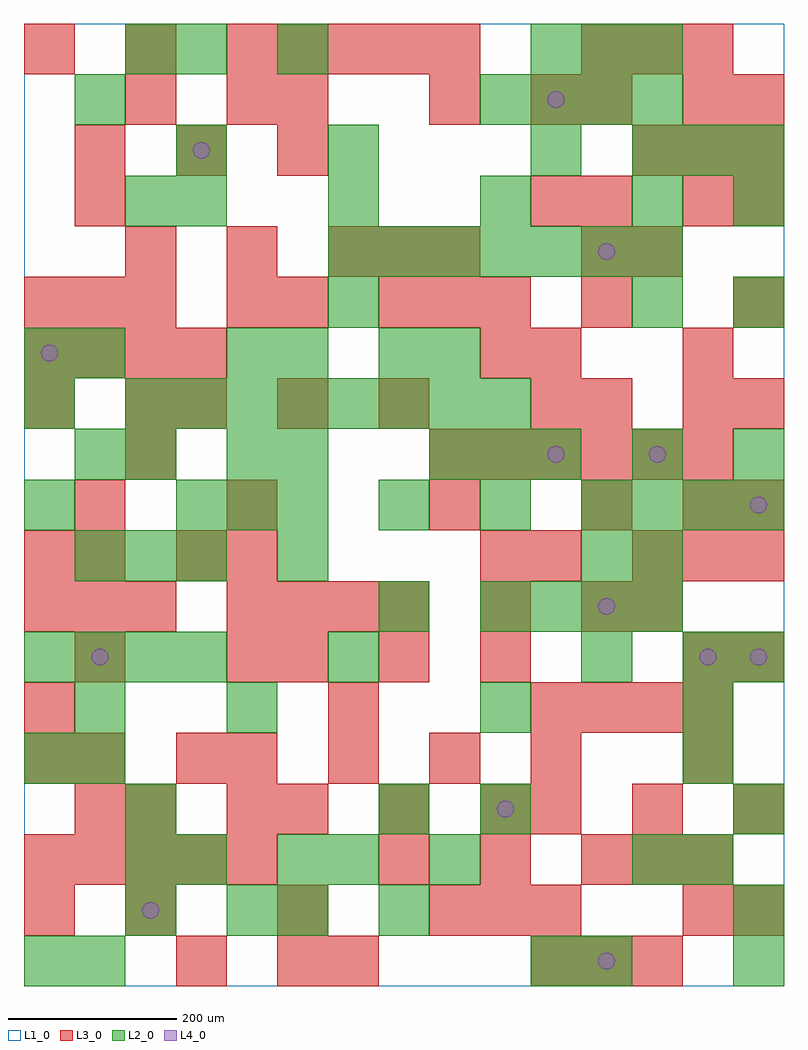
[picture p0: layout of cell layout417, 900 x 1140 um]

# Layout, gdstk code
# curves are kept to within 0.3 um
import gdstk
lib = gdstk.Library(unit=1e-6, precision=1e-09)
def R(c, l, rs):  # rectangles x0, y0, x1, y1
    for r in rs: c.add(gdstk.rectangle(r[:2], r[2:], *l))
def A(c, l, x, y, w, h, nx, ny, dx, dy):  # array of equal rectangles
    R(c, l, [(x+i*dx, y+j*dy, x+i*dx+w, y+j*dy+h) for i in range(nx) for j in range(ny)])
def P(c, l, *ps):  # polygons
    for p in ps: c.add(gdstk.Polygon(p, *l))
L1_0 = (1, 0)
L2_0 = (2, 0)
L3_0 = (3, 0)
L4_0 = (4, 0)

layout417 = lib.new_cell('layout417')
R(layout417, L1_0, [(0,0,900,1140)])
A(layout417, L2_0, 120, 60, 60, 60, 1, 3, 0, 60)
A(layout417, L2_0, 780, 240, 60, 60, 1, 3, 0, 60)
A(layout417, L2_0, 0, 360, 60, 60, 4, 1, 60, 0)
A(layout417, L2_0, 540, 420, 60, 60, 4, 2, 60, 600)
A(layout417, L2_0, 60, 480, 60, 60, 3, 1, 60, 0)
A(layout417, L2_0, 300, 480, 60, 60, 1, 3, 0, 120)
A(layout417, L2_0, 180, 540, 60, 60, 3, 1, 60, 0)
A(layout417, L2_0, 420, 540, 60, 60, 3, 1, 120, 0)
A(layout417, L2_0, 720, 540, 60, 60, 3, 2, 60, 420)
A(layout417, L2_0, 480, 600, 60, 60, 3, 1, 60, 0)
A(layout417, L2_0, 120, 660, 60, 60, 8, 1, 60, 0)
A(layout417, L2_0, 360, 840, 60, 60, 7, 1, 60, 0)
A(layout417, L2_0, 180, 900, 60, 60, 4, 1, 180, 0)
A(layout417, L2_0, 600, 1080, 60, 60, 3, 1, 60, 0)
R(layout417, L2_0, [(0,0,60,60), (60,0,120,60), (600,0,660,60), (660,0,720,60), (840,0,900,60), (240,60,300,120), (300,60,360,120), (420,60,480,120), (840,60,900,120), (180,120,240,180), (300,120,360,180), (360,120,420,180), (480,120,540,180), (720,120,780,180), (780,120,840,180), (420,180,480,240), (540,180,600,240), (840,180,900,240), (0,240,60,300), (60,240,120,300), (60,300,120,360), (240,300,300,360), (540,300,600,360), (360,360,420,420), (660,360,720,420), (840,360,900,420), (420,420,480,480), (660,480,720,540), (720,480,780,540), (0,540,60,600), (60,600,120,660), (120,600,180,660), (240,600,300,660), (720,600,780,660), (840,600,900,660), (0,660,60,720), (0,720,60,780), (60,720,120,780), (240,720,300,780), (420,720,480,780), (480,720,540,780), (360,780,420,840), (720,780,780,840), (840,780,900,840), (120,900,180,960), (840,900,900,960), (180,960,240,1020), (360,960,420,1020), (600,960,660,1020), (60,1020,120,1080), (120,1080,180,1140), (180,1080,240,1140), (300,1080,360,1140)])
A(layout417, L3_0, 180, 0, 60, 60, 1, 3, 0, 240)
A(layout417, L3_0, 600, 0, 60, 60, 3, 1, 60, 0)
A(layout417, L3_0, 120, 60, 60, 60, 3, 1, 180, 0)
A(layout417, L3_0, 0, 120, 60, 60, 5, 1, 60, 0)
A(layout417, L3_0, 420, 120, 60, 60, 3, 1, 120, 0)
A(layout417, L3_0, 780, 120, 60, 60, 1, 3, 0, 120)
A(layout417, L3_0, 300, 180, 60, 60, 3, 2, 120, 180)
A(layout417, L3_0, 600, 180, 60, 60, 3, 1, 120, 0)
A(layout417, L3_0, 60, 240, 60, 60, 1, 3, 0, 120)
A(layout417, L3_0, 240, 240, 60, 60, 4, 1, 120, 0)
A(layout417, L3_0, 0, 300, 60, 60, 1, 3, 0, 180)
A(layout417, L3_0, 600, 300, 60, 60, 4, 1, 60, 0)
A(layout417, L3_0, 0, 420, 60, 60, 3, 2, 60, 360)
A(layout417, L3_0, 240, 420, 60, 60, 4, 1, 60, 0)
A(layout417, L3_0, 660, 420, 60, 60, 1, 4, 0, 120)
A(layout417, L3_0, 720, 480, 60, 60, 3, 2, 60, 480)
A(layout417, L3_0, 240, 540, 60, 60, 1, 3, 0, 240)
A(layout417, L3_0, 840, 540, 60, 60, 1, 5, 0, 120)
A(layout417, L3_0, 480, 600, 60, 60, 6, 1, 60, 0)
A(layout417, L3_0, 180, 660, 60, 60, 3, 1, 120, 0)
A(layout417, L3_0, 0, 720, 60, 60, 4, 1, 60, 0)
A(layout417, L3_0, 420, 780, 60, 60, 3, 1, 60, 0)
A(layout417, L3_0, 120, 840, 60, 60, 3, 1, 120, 0)
A(layout417, L3_0, 60, 960, 60, 60, 3, 1, 120, 0)
A(layout417, L3_0, 0, 1080, 60, 60, 3, 1, 120, 0)
A(layout417, L3_0, 300, 1080, 60, 60, 4, 1, 60, 0)
A(layout417, L3_0, 660, 1080, 60, 60, 3, 1, 60, 0)
R(layout417, L3_0, [(300,0,360,60), (360,0,420,60), (0,60,60,120), (540,60,600,120), (600,60,660,120), (780,60,840,120), (840,60,900,120), (720,120,780,180), (60,180,120,240), (120,180,180,240), (240,180,300,240), (0,240,60,300), (360,300,420,360), (240,360,300,420), (840,360,900,420), (540,420,600,480), (720,420,780,480), (240,480,300,540), (540,480,600,540), (600,480,660,540), (60,540,120,600), (480,540,540,600), (780,540,840,600), (120,600,180,660), (120,660,180,720), (600,660,660,720), (780,660,840,720), (540,720,600,780), (600,720,660,780), (780,720,840,780), (300,780,360,840), (420,840,480,900), (480,840,540,900), (660,840,720,900), (720,840,780,900), (60,900,120,960), (600,900,660,960), (660,900,720,960), (780,900,840,960), (120,1020,180,1080), (300,1020,360,1080), (480,1020,540,1080), (600,1020,660,1080), (660,1020,720,1080), (780,1020,840,1080)])
P(layout417, L4_0, [(40,750),(39.239,753.827),(37.071,757.071),(33.827,759.239),(30,760),(26.173,759.239),(22.929,757.071),(20.761,753.827),(20,750),(20.761,746.173),(22.929,742.929),(26.173,740.761),(30,740),(33.827,740.761),(37.071,742.929),(39.239,746.173)],
  [(100,390),(99.239,393.827),(97.071,397.071),(93.827,399.239),(90,400),(86.173,399.239),(82.929,397.071),(80.761,393.827),(80,390),(80.761,386.173),(82.929,382.929),(86.173,380.761),(90,380),(93.827,380.761),(97.071,382.929),(99.239,386.173)],
  [(160,90),(159.239,93.827),(157.071,97.071),(153.827,99.239),(150,100),(146.173,99.239),(142.929,97.071),(140.761,93.827),(140,90),(140.761,86.173),(142.929,82.929),(146.173,80.761),(150,80),(153.827,80.761),(157.071,82.929),(159.239,86.173)],
  [(220,990),(219.239,993.827),(217.071,997.071),(213.827,999.239),(210,1000),(206.173,999.239),(202.929,997.071),(200.761,993.827),(200,990),(200.761,986.173),(202.929,982.929),(206.173,980.761),(210,980),(213.827,980.761),(217.071,982.929),(219.239,986.173)],
  [(580,210),(579.239,213.827),(577.071,217.071),(573.827,219.239),(570,220),(566.173,219.239),(562.929,217.071),(560.761,213.827),(560,210),(560.761,206.173),(562.929,202.929),(566.173,200.761),(570,200),(573.827,200.761),(577.071,202.929),(579.239,206.173)],
  [(640,630),(639.239,633.827),(637.071,637.071),(633.827,639.239),(630,640),(626.173,639.239),(622.929,637.071),(620.761,633.827),(620,630),(620.761,626.173),(622.929,622.929),(626.173,620.761),(630,620),(633.827,620.761),(637.071,622.929),(639.239,626.173)],
  [(640,1050),(639.239,1053.827),(637.071,1057.071),(633.827,1059.239),(630,1060),(626.173,1059.239),(622.929,1057.071),(620.761,1053.827),(620,1050),(620.761,1046.173),(622.929,1042.929),(626.173,1040.761),(630,1040),(633.827,1040.761),(637.071,1042.929),(639.239,1046.173)],
  [(700,30),(699.239,33.827),(697.071,37.071),(693.827,39.239),(690,40),(686.173,39.239),(682.929,37.071),(680.761,33.827),(680,30),(680.761,26.173),(682.929,22.929),(686.173,20.761),(690,20),(693.827,20.761),(697.071,22.929),(699.239,26.173)],
  [(700,450),(699.239,453.827),(697.071,457.071),(693.827,459.239),(690,460),(686.173,459.239),(682.929,457.071),(680.761,453.827),(680,450),(680.761,446.173),(682.929,442.929),(686.173,440.761),(690,440),(693.827,440.761),(697.071,442.929),(699.239,446.173)],
  [(700,870),(699.239,873.827),(697.071,877.071),(693.827,879.239),(690,880),(686.173,879.239),(682.929,877.071),(680.761,873.827),(680,870),(680.761,866.173),(682.929,862.929),(686.173,860.761),(690,860),(693.827,860.761),(697.071,862.929),(699.239,866.173)],
  [(760,630),(759.239,633.827),(757.071,637.071),(753.827,639.239),(750,640),(746.173,639.239),(742.929,637.071),(740.761,633.827),(740,630),(740.761,626.173),(742.929,622.929),(746.173,620.761),(750,620),(753.827,620.761),(757.071,622.929),(759.239,626.173)],
  [(820,390),(819.239,393.827),(817.071,397.071),(813.827,399.239),(810,400),(806.173,399.239),(802.929,397.071),(800.761,393.827),(800,390),(800.761,386.173),(802.929,382.929),(806.173,380.761),(810,380),(813.827,380.761),(817.071,382.929),(819.239,386.173)],
  [(880,390),(879.239,393.827),(877.071,397.071),(873.827,399.239),(870,400),(866.173,399.239),(862.929,397.071),(860.761,393.827),(860,390),(860.761,386.173),(862.929,382.929),(866.173,380.761),(870,380),(873.827,380.761),(877.071,382.929),(879.239,386.173)],
  [(880,570),(879.239,573.827),(877.071,577.071),(873.827,579.239),(870,580),(866.173,579.239),(862.929,577.071),(860.761,573.827),(860,570),(860.761,566.173),(862.929,562.929),(866.173,560.761),(870,560),(873.827,560.761),(877.071,562.929),(879.239,566.173)])

lib.write_gds('layout417.gds')
